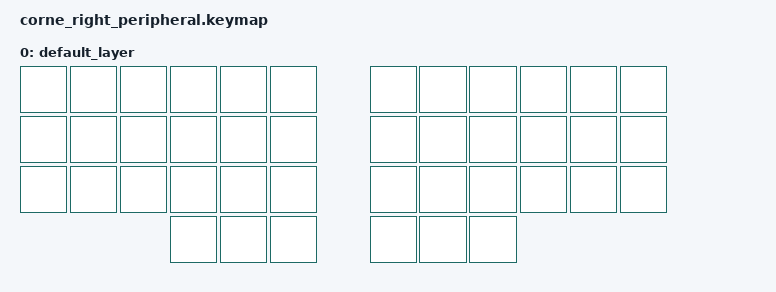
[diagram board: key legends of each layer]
/*
 * Copyright (c) 2020 The ZMK Contributors
 *
 * SPDX-License-Identifier: MIT
 */

#include <dt-bindings/zmk/keys.h>

/ {
    keymap {
        compatible = "zmk,keymap";

        default_layer {
            bindings = <
&none &none &none &none &none &none    &none &none &none &none &none &none
&none &none &none &none &none &none    &none &none &none &none &none &none
&none &none &none &none &none &none    &none &none &none &none &none &none
                  &none &none &none    &none &none &none
            >;
        };
    };
};
